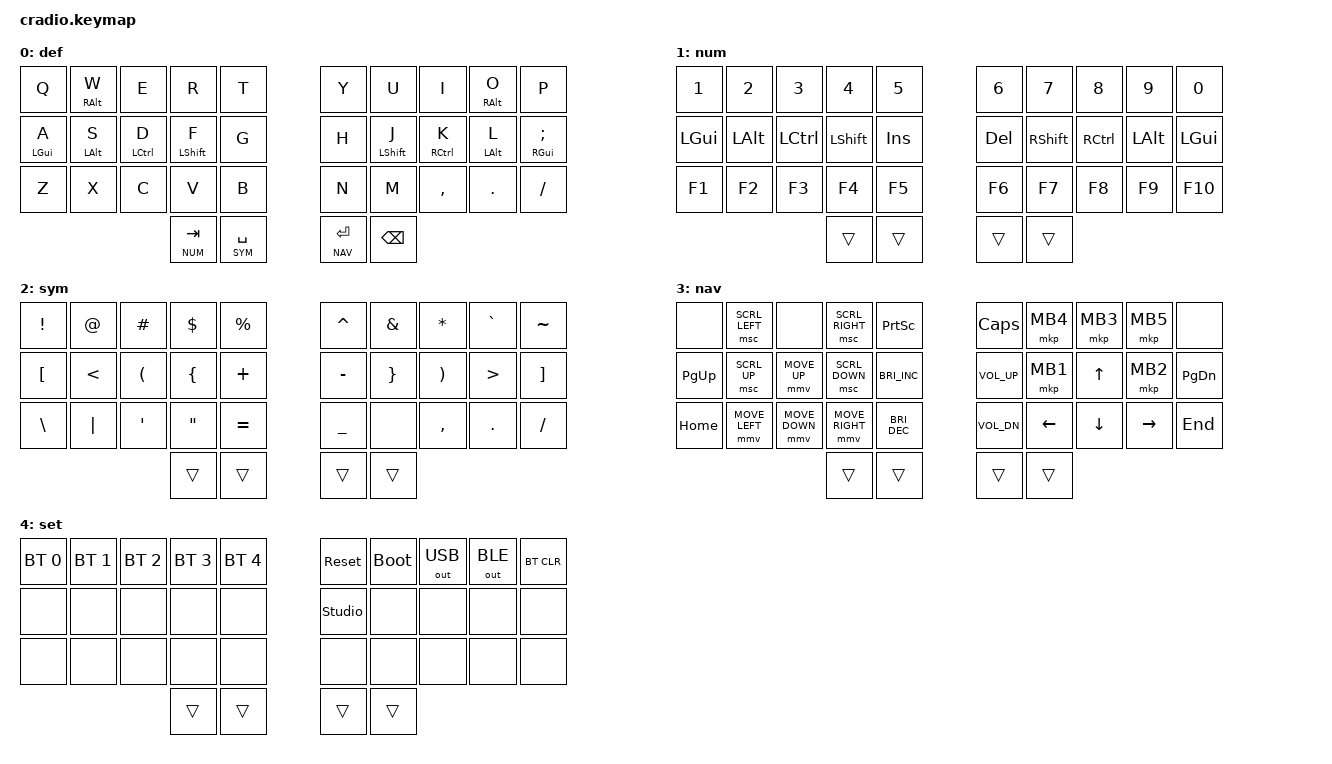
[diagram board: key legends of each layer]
#include <behaviors.dtsi>
#include <dt-bindings/zmk/bt.h>
#include <dt-bindings/zmk/keys.h>
#include <dt-bindings/zmk/outputs.h>
#include <dt-bindings/zmk/pointing.h>

#define DEF 0
#define NUM 1
#define SYM 2
#define NAV 3
#define SET 4

#define ZMK_POINTING_DEFAULT_MOVE_VAL 1200
#define ZMK_POINTING_DEFAULT_SCRL_VAL 15

/ {
    behaviors {
        ht: hold_tap {
            compatible = "zmk,behavior-hold-tap";
            #binding-cells = <2>;
            flavor = "tap-preferred";
            tapping-term-ms = <220>;
            quick-tap-ms = <150>;
            require-prior-idle-ms = <100>;
            bindings = <&kp>, <&kp>;
        };

        mmv {
            acceleration-exponent = <3>;
            time-to-max-speed-ms = <1200>;
            delay-ms = <20>;
        };

        msc {
            acceleration-exponent = <0>;
            time-to-max-speed-ms = <0>;
            delay-ms = <0>;
        };
    };

    combos {
        compatible = "zmk,combos";

        esc {
            bindings = <&kp ESCAPE>;
            key-positions = <31 32>;
            layers = <DEF NUM SYM NAV SET>;
        };

        tog_nav {
            bindings = <&tog NAV>;
            key-positions = <30 33>;
            layers = <DEF NUM SYM NAV SET>;
        };

        f12 {
            bindings = <&kp F12>;
            key-positions = <29 28>;
            layers = <NUM>;
        };

        f11 {
            bindings = <&kp F11>;
            key-positions = <20 21>;
            layers = <NUM>;
        };

        set_layer {
            bindings = <&mo SET>;
            key-positions = <20 29>;
            layers = <DEF>;
        };
    };

    keymap {
        compatible = "zmk,keymap";

        def {
            bindings = <
              &kp Q       &ht RALT W  &kp E        &kp R         &kp T          &kp Y          &kp U          &kp I        &ht RALT O  &kp P
              &ht LGUI A  &ht LALT S  &ht LCTRL D  &ht LSHIFT F  &kp G          &kp H          &ht LSHIFT J   &ht RCTRL K  &ht LALT L  &ht RIGHT_GUI SEMICOLON
              &kp Z       &kp X       &kp C        &kp V         &kp B          &kp N          &kp M          &kp COMMA    &kp DOT     &kp FSLH
                                                   &lt NUM TAB   &lt SYM SPACE  &lt NAV ENTER  &kp BACKSPACE
            >;
        };

        num {
            bindings = <
              &kp N1    &kp N2    &kp N3     &kp N4     &kp N5   &kp N6   &kp N7     &kp N8     &kp N9    &kp N0
              &kp LGUI  &kp LALT  &kp LCTRL  &kp LSHFT  &kp INS  &kp DEL  &kp RSHFT  &kp RCTRL  &kp LALT  &kp LGUI
              &kp F1    &kp F2    &kp F3     &kp F4     &kp F5   &kp F6   &kp F7     &kp F8     &kp F9    &kp F10
                                             &trans     &trans   &trans   &trans
            >;
        };

        sym {
            bindings = <
              &kp EXCL  &kp AT    &kp HASH          &kp DLLR           &kp PRCNT  &kp CARET  &kp AMPS  &kp ASTRK  &kp GRAVE  &kp TILDE
              &kp LBKT  &kp LT    &kp LPAR          &kp LBRC           &kp PLUS   &kp MINUS  &kp RBRC  &kp RPAR   &kp GT     &kp RBKT
              &kp BSLH  &kp PIPE  &kp SINGLE_QUOTE  &kp DOUBLE_QUOTES  &kp EQUAL  &kp UNDER  &none     &kp COMMA  &kp DOT    &kp FSLH
                                                    &trans             &trans     &trans     &trans
            >;
        };

        nav {
            bindings = <
              &none        &msc SCRL_LEFT  &none           &msc SCRL_RIGHT  &kp PRINTSCREEN       &kp CAPSLOCK     &mkp MB4  &mkp MB3  &mkp MB5   &none
              &kp PAGE_UP  &msc SCRL_UP    &mmv MOVE_UP    &msc SCRL_DOWN   &kp C_BRIGHTNESS_INC  &kp C_VOLUME_UP  &mkp MB1  &kp UP    &mkp MB2   &kp PAGE_DOWN
              &kp HOME     &mmv MOVE_LEFT  &mmv MOVE_DOWN  &mmv MOVE_RIGHT  &kp C_BRIGHTNESS_DEC  &kp C_VOL_DN     &kp LEFT  &kp DOWN  &kp RIGHT  &kp END
                                                        &trans           &trans                &trans           &trans
            >;
        };

        set {
            bindings = <
              &bt BT_SEL 0  &bt BT_SEL 1  &bt BT_SEL 2  &bt BT_SEL 3  &bt BT_SEL 4  &sys_reset      &bootloader  &out OUT_USB  &out OUT_BLE  &bt BT_CLR
              &none         &none         &none         &none         &none         &studio_unlock  &none        &none         &none         &none
              &none         &none         &none         &none         &none         &none           &none        &none         &none         &none
                                                        &trans        &trans        &trans          &trans
            >;
        };
    };
};
